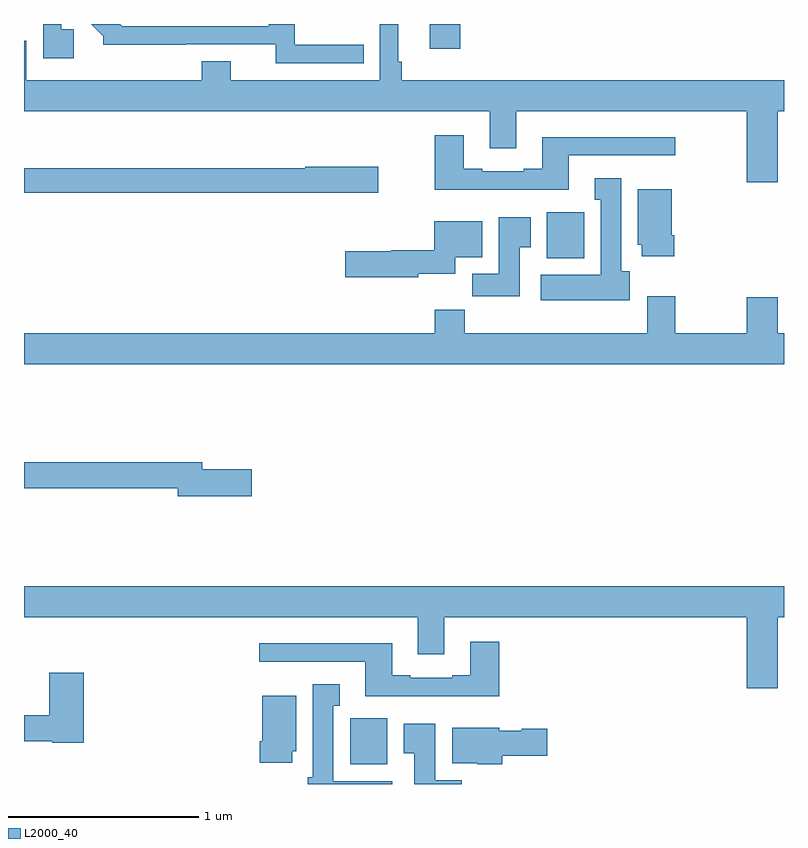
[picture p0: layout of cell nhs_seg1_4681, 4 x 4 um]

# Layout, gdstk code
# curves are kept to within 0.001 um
import gdstk
lib = gdstk.Library(unit=1e-6, precision=1e-09)
def R(c, l, rs):  # rectangles x0, y0, x1, y1
    for r in rs: c.add(gdstk.rectangle(r[:2], r[2:], *l))
def P(c, l, *ps):  # polygons
    for p in ps: c.add(gdstk.Polygon(p, *l))
L2000_40 = (2000, 40)

nhs_seg1_4681 = lib.new_cell('nhs_seg1_4681')
R(nhs_seg1_4681, L2000_40, [(366.716,540.302,366.913,540.544), (367.751,542.966,367.948,543.208), (367.136,544.068,367.295,544.199)])
P(nhs_seg1_4681, L2000_40, [(365.261,544.171),(365.196,544.171),(365.196,544.199),(365,544.199),(365,544.197),(365.1,544.197),(365.1,544.02),(365.261,544.02)],
  [(368.968,543.74),(369,543.74),(369,543.904),(366.989,543.904),(366.989,544),(366.97,544),(366.97,544.199),(366.873,544.199),(366.873,543.904),(366.088,543.904),(366.088,544.003),(365.936,544.003),(365.936,543.904),(365.011,543.904),(365.011,544.112),(365,544.112),(365,543.74),(367.451,543.74),(367.451,543.546),(367.591,543.546),(367.591,543.74),(368.804,543.74),(368.804,543.366),(368.968,543.366)],
  [(366.788,544.089),(366.424,544.089),(366.424,544.199),(366.288,544.199),(366.288,544.188),(365.517,544.188),(365.506,544.199),(365.354,544.199),(365.418,544.135),(365.418,544.091),(366.325,544.092),(366.325,543.993),(366.788,543.993)],
  [(367.867,543.507),(368.428,543.507),(368.428,543.604),(367.727,543.604),(367.727,543.436),(367.631,543.436),(367.631,543.423),(367.411,543.423),(367.411,543.436),(367.315,543.436),(367.315,543.613),(367.163,543.613),(367.163,543.326),(367.867,543.326)],
  [(366.865,543.447),(366.48,543.447),(366.48,543.439),(365,543.439),(365,543.31),(366.865,543.31)],
  [(368.188,542.898),(368.143,542.898),(368.143,543.388),(368.003,543.388),(368.003,543.275),(368.036,543.275),(368.036,542.878),(367.719,542.878),(367.719,542.744),(368.188,542.744)],
  [(368.423,543.088),(368.41,543.088),(368.41,543.328),(368.231,543.328),(368.231,543.036),(368.252,543.036),(368.252,542.976),(368.423,542.976)],
  [(367.609,543.025),(367.666,543.025),(367.666,543.181),(367.499,543.181),(367.499,542.884),(367.36,542.884),(367.36,542.766),(367.609,542.766)],
  [(367.074,542.885),(367.27,542.885),(367.27,542.972),(367.411,542.972),(367.411,543.16),(367.16,543.16),(367.16,543.008),(366.933,543.008),(366.933,543.003),(366.69,543.003),(366.69,542.866),(367.074,542.866)],
  [(369,542.572),(368.968,542.572),(368.968,542.761),(368.804,542.761),(368.804,542.572),(368.427,542.572),(368.427,542.767),(368.279,542.767),(368.279,542.572),(367.319,542.572),(367.319,542.696),(367.163,542.696),(367.163,542.572),(365,542.572),(365,542.408),(369,542.408)],
  [(366.199,541.856),(365.938,541.856),(365.938,541.892),(365,541.892),(365,541.756),(365.81,541.756),(365.81,541.714),(366.199,541.714)],
  [(368.968,541.076),(369,541.076),(369,541.24),(365,541.24),(365,541.076),(367.073,541.076),(367.073,540.882),(367.213,540.882),(367.213,541.076),(368.804,541.076),(368.804,540.702),(368.968,540.702)],
  [(367.502,540.949),(367.349,540.949),(367.349,540.772),(367.253,540.772),(367.253,540.759),(367.033,540.759),(367.033,540.772),(366.937,540.772),(366.937,540.94),(366.237,540.94),(366.237,540.843),(366.797,540.843),(366.797,540.662),(367.502,540.662)],
  [(365.315,540.784),(365.132,540.784),(365.132,540.56),(365,540.56),(365,540.424),(365.148,540.424),(365.148,540.416),(365.315,540.416)],
  [(366.937,540.214),(366.628,540.214),(366.628,540.611),(366.661,540.611),(366.661,540.724),(366.521,540.724),(366.521,540.234),(366.494,540.234),(366.494,540.199),(366.937,540.199)],
  [(366.412,540.372),(366.433,540.372),(366.433,540.664),(366.254,540.664),(366.254,540.424),(366.242,540.424),(366.242,540.312),(366.412,540.312)],
  [(367.304,540.22),(367.165,540.22),(367.165,540.517),(366.998,540.517),(366.998,540.361),(367.055,540.361),(367.055,540.199),(367.304,540.199)],
  [(367.517,540.349),(367.753,540.349),(367.753,540.491),(367.62,540.491),(367.62,540.478),(367.5,540.478),(367.5,540.496),(367.253,540.496),(367.253,540.308),(367.386,540.308),(367.386,540.302),(367.517,540.302)])

lib.write_gds('nhs_seg1_4681.gds')
